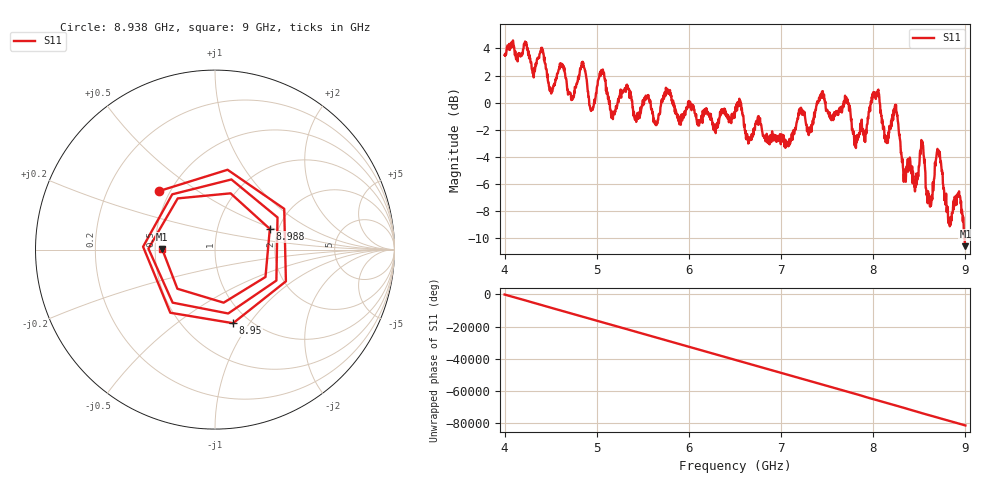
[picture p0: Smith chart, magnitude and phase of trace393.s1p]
! Created with skrf 1.8.0 (http://scikit-rf.org).
# Hz S RI R 50.0
!freq ReS11 ImS11
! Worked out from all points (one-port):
!   1601 points, 4 GHz to 9 GHz, reference 50 ohm
!   lowest |S11| = -10.6 dB at 9 GHz (marker M1), VSWR 1.83, Z = 27.3 + j0.182 ohm
!   |S11| at or under -10 dB: 8.991533 GHz to end of sweep
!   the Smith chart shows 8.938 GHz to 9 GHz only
!   S11 on the Smith chart (normalised r, x): 8.938 GHz: 0.43, +0.36; 8.95 GHz: 0.84, -0.84; 8.988 GHz: 1.80, +0.47; 9 GHz: 0.55, +0.00
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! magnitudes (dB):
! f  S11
! 4 GHz  3.5
! 4.406 GHz  4.0
! 4.506 GHz  0.7
! 4.625 GHz  2.6
! 4.728 GHz  0.4
! 4.856 GHz  2.7
! 4.944 GHz  -0.6
! 5.053 GHz  2.2
! 5.169 GHz  -0.7
! 5.25 GHz  0.5
! 5.875 GHz  -0.9
! 6.5 GHz  -0.8
! 7.125 GHz  -2.7
! 7.441 GHz  0.7
! 7.75 GHz  -0.5
! 7.819 GHz  -2.9
! 8.041 GHz  0.6
! 8.144 GHz  -2.5
! 8.247 GHz  -0.2
! 8.375 GHz  -4.2
! 8.531 GHz  -3.0
! 8.616 GHz  -7.7
! 8.709 GHz  -3.5
! 8.822 GHz  -9.0
! 8.938 GHz  -6.9
! 8.95 GHz  -7.5
! 8.988 GHz  -9.7
! 9 GHz  -10.6
